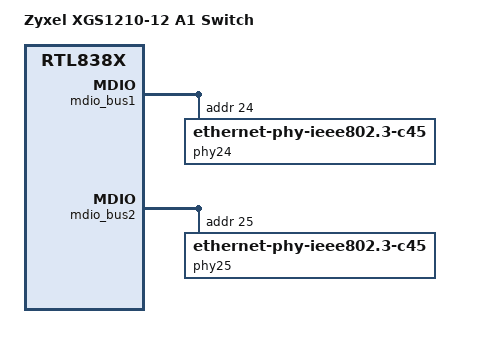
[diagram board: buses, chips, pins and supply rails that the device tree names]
// SPDX-License-Identifier: GPL-2.0-or-later
/dts-v1/;

#include "rtl9302_zyxel_xgs1210-12-common.dtsi"

/ {
	compatible = "zyxel,xgs1210-12-a1", "realtek,rtl838x-soc";
	model = "Zyxel XGS1210-12 A1 Switch";
};

&mdio_bus1 {
	phy24: ethernet-phy@24 {
		reg = <24>;
		realtek,smi-address = <8>;
		compatible = "ethernet-phy-ieee802.3-c45";
		enet-phy-pair-order = <1>;
	};
};

&mdio_bus2 {
	phy25: ethernet-phy@25 {
		reg = <25>;
		realtek,smi-address = <9>;
		compatible = "ethernet-phy-ieee802.3-c45";
		enet-phy-pair-order = <1>;
	};
};
